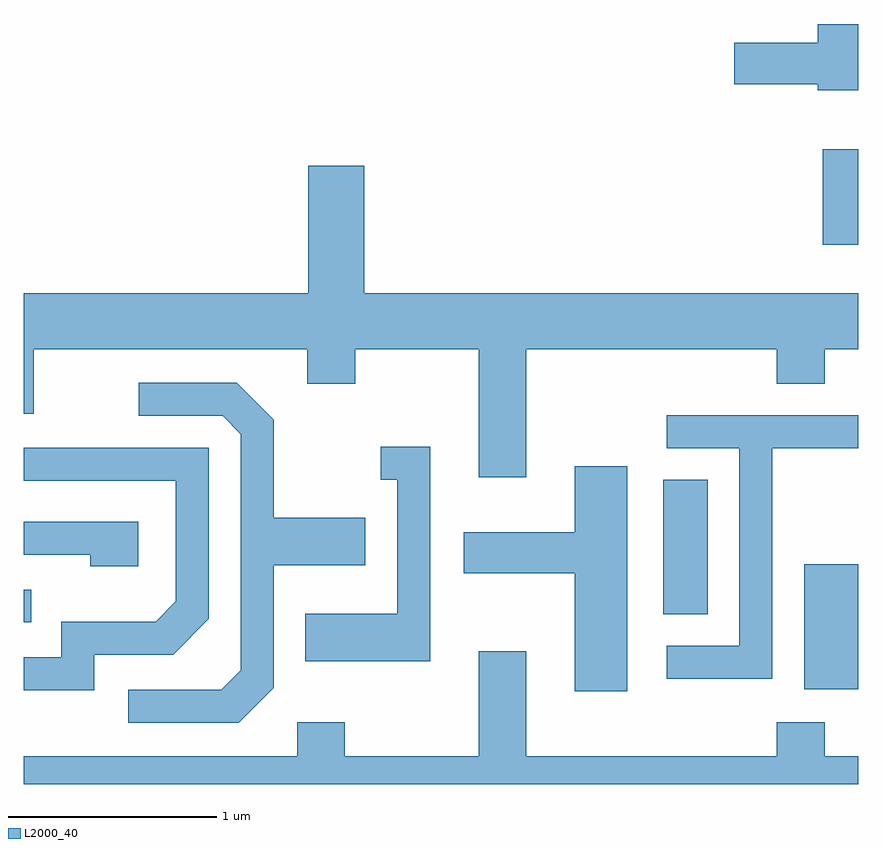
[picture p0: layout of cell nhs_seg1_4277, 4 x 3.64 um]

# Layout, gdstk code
import gdstk
lib = gdstk.Library(unit=1e-6, precision=1e-09)
def R(c, l, rs):  # rectangles x0, y0, x1, y1
    for r in rs: c.add(gdstk.rectangle(r[:2], r[2:], *l))
def P(c, l, *ps):  # polygons
    for p in ps: c.add(gdstk.Polygon(p, *l))
L2000_40 = (2000, 40)

nhs_seg1_4277 = lib.new_cell('nhs_seg1_4277')
R(nhs_seg1_4277, L2000_40, [(317.351,900.166,317.611,900.764), (313.611,900.486,313.648,900.644), (316.676,900.526,316.889,901.169), (317.441,902.296,317.611,902.754)])
P(nhs_seg1_4277, L2000_40, [(317.611,903.344),(317.61,903.344),(317.61,903.354),(317.416,903.354),(317.416,903.264),(317.016,903.264),(317.016,903.066),(317.416,903.066),(317.416,903.036),(317.611,903.036)],
  [(316.019,901.796),(317.221,901.796),(317.221,901.631),(317.449,901.631),(317.449,901.796),(317.611,901.796),(317.611,902.064),(315.244,902.064),(315.244,902.674),(314.976,902.674),(314.976,902.064),(313.611,902.064),(313.611,901.486),(313.659,901.486),(313.659,901.796),(314.971,901.796),(314.971,901.631),(315.199,901.631),(315.199,901.796),(315.791,901.796),(315.791,901.181),(316.019,901.181)],
  [(314.809,900.174),(314.809,900.761),(315.249,900.761),(315.249,900.989),(314.809,900.989),(314.809,901.457),(314.632,901.634),(314.163,901.634),(314.163,901.476),(314.564,901.476),(314.651,901.389),(314.651,900.257),(314.559,900.164),(314.113,900.164),(314.113,900.006),(314.642,900.006)],
  [(317.199,901.321),(317.611,901.321),(317.611,901.479),(316.693,901.479),(316.693,901.321),(317.041,901.321),(317.041,900.374),(316.693,900.374),(316.693,900.216),(317.199,900.216)],
  [(315.559,901.329),(315.323,901.329),(315.323,901.171),(315.401,901.171),(315.401,900.529),(314.961,900.529),(314.961,900.301),(315.559,900.301)],
  [(313.949,900.331),(314.327,900.331),(314.499,900.504),(314.499,901.324),(313.611,901.324),(313.611,901.166),(314.341,901.166),(314.341,900.587),(314.244,900.489),(313.791,900.489),(313.791,900.319),(313.611,900.319),(313.611,900.161),(313.949,900.161)],
  [(316.504,901.234),(316.251,901.234),(316.251,900.919),(315.721,900.919),(315.721,900.721),(316.251,900.721),(316.251,900.156),(316.504,900.156)],
  [(314.159,900.969),(313.611,900.969),(313.611,900.811),(313.931,900.811),(313.931,900.756),(314.159,900.756)],
  [(317.611,899.844),(317.449,899.844),(317.449,900.009),(317.221,900.009),(317.221,899.844),(316.019,899.844),(316.019,900.349),(315.791,900.349),(315.791,899.844),(315.149,899.844),(315.149,900.009),(314.921,900.009),(314.921,899.844),(313.611,899.844),(313.611,899.712),(317.611,899.712)])

lib.write_gds('nhs_seg1_4277.gds')
